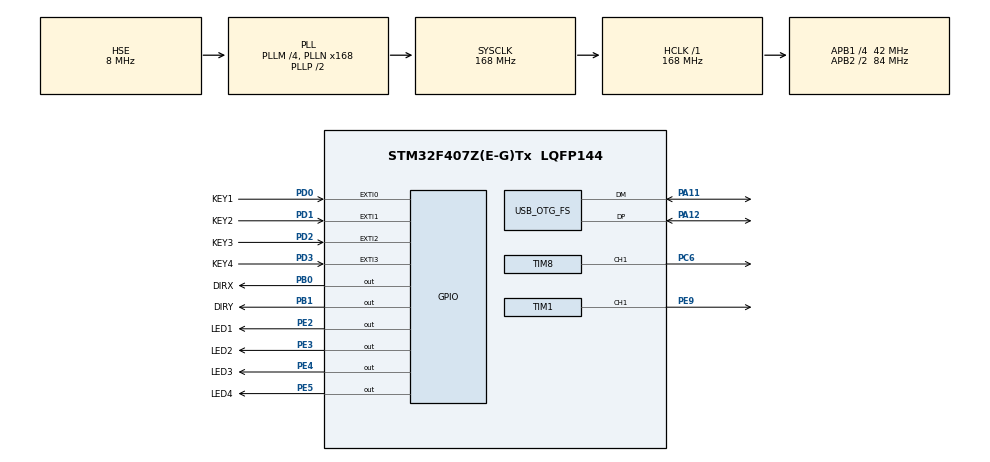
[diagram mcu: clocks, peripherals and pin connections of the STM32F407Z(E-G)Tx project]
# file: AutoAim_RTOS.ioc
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FREERTOS.Tasks01=getStateTask,2,128,StartGetStateTask,Default;keysTask,-1,128,StartKeyTask,Default;outPutTask,0,128,StartOutPutTask,Default;controlTask,2,128,StartControlTask,Default
FREERTOS.configUSE_ALTERNATIVE_API=0
Mcu.Family=STM32F4
Mcu.Name=STM32F407Z(E-G)Tx
Mcu.Package=LQFP144
NVIC.EXTI0_IRQn=true\:5\:0\:false\:false\:true\:true
NVIC.EXTI1_IRQn=true\:5\:0\:false\:false\:true\:true
NVIC.EXTI2_IRQn=true\:5\:0\:false\:false\:true\:true
NVIC.EXTI3_IRQn=true\:5\:0\:false\:false\:true\:true
NVIC.OTG_FS_IRQn=true\:5\:0\:false\:false\:true\:true
NVIC.PriorityGroup=NVIC_PRIORITYGROUP_4
NVIC.TIM1_UP_TIM10_IRQn=true\:5\:0\:false\:false\:true\:true
NVIC.TIM2_IRQn=true\:0\:0\:false\:false\:true\:false
NVIC.TIM3_IRQn=true\:5\:0\:false\:false\:true\:true
NVIC.TIM8_UP_TIM13_IRQn=true\:5\:0\:false\:false\:true\:true
NVIC.TimeBase=TIM2_IRQn
NVIC.TimeBaseIP=TIM2
PA11.Mode=Device_Only
PA11.Signal=USB_OTG_FS_DM
PA12.Mode=Device_Only
PA12.Signal=USB_OTG_FS_DP
PA13.Mode=JTAG_5_pins
PA13.Signal=SYS_JTMS-SWDIO
PA14.Mode=JTAG_5_pins
PA14.Signal=SYS_JTCK-SWCLK
PA15.Mode=JTAG_5_pins
PA15.Signal=SYS_JTDI
PB0.GPIO_Label=DIRX
PB0.GPIO_ModeDefaultOutputPP=GPIO_MODE_OUTPUT_PP
PB0.GPIO_PuPd=GPIO_NOPULL
PB0.GPIO_Speed=GPIO_SPEED_FREQ_HIGH
PB0.PinState=GPIO_PIN_RESET
PB0.Signal=GPIO_Output
PB1.GPIO_Label=DIRY
PB1.GPIO_ModeDefaultOutputPP=GPIO_MODE_OUTPUT_PP
PB1.GPIO_PuPd=GPIO_NOPULL
PB1.GPIO_Speed=GPIO_SPEED_FREQ_HIGH
PB1.PinState=GPIO_PIN_RESET
PB1.Signal=GPIO_Output
PB3.Mode=JTAG_5_pins
PB3.Signal=SYS_JTDO-SWO
PB4.Mode=JTAG_5_pins
PB4.Signal=SYS_JTRST
PC6.Signal=S_TIM8_CH1
PD0.GPIO_Label=KEY1
PD0.GPIO_ModeDefaultEXTI=GPIO_MODE_IT_FALLING
PD0.GPIO_PuPd=GPIO_PULLUP
PD0.Signal=GPXTI0
PD1.GPIO_Label=KEY2
PD1.GPIO_ModeDefaultEXTI=GPIO_MODE_IT_FALLING
PD1.GPIO_PuPd=GPIO_PULLUP
PD1.Signal=GPXTI1
PD2.GPIO_Label=KEY3
PD2.GPIO_ModeDefaultEXTI=GPIO_MODE_IT_FALLING
PD2.GPIO_PuPd=GPIO_PULLUP
PD2.Signal=GPXTI2
PD3.GPIO_Label=KEY4
PD3.GPIO_ModeDefaultEXTI=GPIO_MODE_IT_FALLING
PD3.GPIO_PuPd=GPIO_PULLUP
PD3.Signal=GPXTI3
PE2.GPIO_Label=LED1
PE2.GPIO_PuPd=GPIO_PULLUP
PE2.PinState=GPIO_PIN_SET
PE2.Signal=GPIO_Output
PE3.GPIO_Label=LED2
PE3.GPIO_PuPd=GPIO_PULLUP
PE3.PinState=GPIO_PIN_SET
PE3.Signal=GPIO_Output
PE4.GPIO_Label=LED3
PE4.GPIO_ModeDefaultOutputPP=GPIO_MODE_OUTPUT_PP
PE4.GPIO_PuPd=GPIO_PULLUP
PE4.PinState=GPIO_PIN_SET
PE4.Signal=GPIO_Output
PE5.GPIO_Label=LED4
PE5.GPIO_PuPd=GPIO_PULLUP
PE5.PinState=GPIO_PIN_SET
PE5.Signal=GPIO_Output
PE9.Signal=S_TIM1_CH1
PH0-OSC_IN.Mode=HSE-External-Oscillator
PH0-OSC_IN.Signal=RCC_OSC_IN
PH1-OSC_OUT.Mode=HSE-External-Oscillator
PH1-OSC_OUT.Signal=RCC_OSC_OUT
ProjectManager.HeapSize=0x1000
ProjectManager.StackSize=0x400
ProjectManager.TargetToolchain=MDK-ARM V5
RCC.48MHZClocksFreq_Value=48000000
RCC.AHBFreq_Value=168000000
RCC.APB1CLKDivider=RCC_HCLK_DIV4
RCC.APB1Freq_Value=42000000
RCC.APB1TimFreq_Value=84000000
RCC.APB2CLKDivider=RCC_HCLK_DIV2
RCC.APB2Freq_Value=84000000
RCC.APB2TimFreq_Value=168000000
RCC.ClockTypeHCLK=RCC_CLOCKTYPE_HCLK
RCC.ClockTypePCLK1=RCC_CLOCKTYPE_PCLK1
RCC.ClockTypePCLK2=RCC_CLOCKTYPE_PCLK2
RCC.ClockTypeSysClk=RCC_CLOCKTYPE_SYSCLK
RCC.CortexFreq_Value=168000000
RCC.EnableExtClockForI2S=false
RCC.EnableHSE=true
RCC.EnableHSERTCDevisor=false
RCC.EnableLSE=false
RCC.EnableLSERTC=false
RCC.ExtClockEnable=false
RCC.HCLKFreq_Value=168000000
RCC.HSEState=RCC_HSE_ON
RCC.HSE_VALUE=8000000
RCC.HSIState=RCC_HSI_OFF
RCC.HSI_VALUE=16000000
RCC.I2SEnable=false
RCC.IWDGEnable=false
RCC.LSE_VALUE=32768
RCC.LSIState=RCC_LSI_OFF
RCC.MCO1OutPutEnable=false
RCC.MCO2OutPutEnable=false
RCC.OscillatorTypeHSE=RCC_OSCILLATORTYPE_HSE
RCC.PLLM=4
RCC.PLLN=168
RCC.PLLQ=7
RCC.PLLSource=RCC_PLLSOURCE_HSE
RCC.PLLSourceVirtual=RCC_PLLSOURCE_HSE
RCC.PLLState=RCC_PLL_ON
RCC.RNGEnable=false
RCC.RTCEnable=false
RCC.SDIOEnable=false
RCC.SYSCLKFreq_VALUE=168000000
RCC.SYSCLKSource=RCC_SYSCLKSOURCE_PLLCLK
RCC.USBFSEnable=true
RCC.USBHSEnable=false
RCC.VCOOutputFreq_Value=336000000
SH.S_TIM1_CH1.0=TIM1_CH1,PWM Generation1 CH1
SH.S_TIM8_CH1.0=TIM8_CH1,PWM Generation1 CH1
TIM1.Channel-PWM\ Generation1\ CH1=TIM_CHANNEL_1
TIM1.OCNIdleState_1=TIM_OCNIDLESTATE_RESET
TIM1.OCNPolarity_1=TIM_OCNPOLARITY_HIGH
TIM1.Period=100-1
TIM1.Prescaler=2500-1
TIM1.Pulse-PWM\ Generation1\ CH1=50
TIM3.Period=15000-1
TIM3.Prescaler=84-1
TIM8.Channel-PWM\ Generation1\ CH1=TIM_CHANNEL_1
TIM8.OCNIdleState_1=TIM_OCNIDLESTATE_RESET
TIM8.OCNPolarity_1=TIM_OCNPOLARITY_HIGH
TIM8.Period=100-1
TIM8.Prescaler=2500-1
TIM8.Pulse-PWM\ Generation1\ CH1=50
USB_DEVICE.CLASS_NAME-CDC_FS=CDC
USB_DEVICE.CLASS_NAME_FS=CDC
USB_DEVICE.USBD_HandleTypeDef-CDC_FS=hUsbDeviceFS
USB_DEVICE.USBD_HandleTypeDef_FS=hUsbDevice_OTG_FS
USB_DEVICE.VirtualMode-CDC_FS=Cdc
USB_DEVICE.VirtualModeFS=Cdc_FS
USB_OTG_FS.VirtualMode=Device_Only
USB_OTG_FS.phy_itface=PCD_PHY_EMBEDDED
USB_OTG_FS.vbus_sensing_enable=DISABLE
VP_FREERTOS_VS_ENABLE.Mode=Enabled
VP_SYS_VS_tim2.Mode=TIM2
VP_TIM3_VS_ClockSourceINT.Mode=Internal
VP_USB_DEVICE_VS_USB_DEVICE_CDC_FS.Mode=CDC_FS
board=AutoAim_RTOS

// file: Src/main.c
/**
  ******************************************************************************
  * File Name          : main.c
  * Description        : Main program body
  ******************************************************************************
  *
  * Copyright (c) 2017 STMicroelectronics International N.V.
  * All rights reserved.
  *
  * Redistribution and use in source and binary forms, with or without
  * modification, are permitted, provided that the following conditions are met:
  *
  * 1. Redistribution of source code must retain the above copyright notice,
  *    this list of conditions and the following disclaimer.
  * 2. Redistributions in binary form must reproduce the above copyright notice,
  *    this list of conditions and the following disclaimer in the documentation
  *    and/or other materials provided with the distribution.
  * 3. Neither the name of STMicroelectronics nor the names of other
  *    contributors to this software may be used to endorse or promote products
  *    derived from this software without specific written permission.
  * 4. This software, including modifications and/or derivative works of this
  *    software, must execute solely and exclusively on microcontroller or
  *    microprocessor devices manufactured by or for STMicroelectronics.
  * 5. Redistribution and use of this software other than as permitted under
  *    this license is void and will automatically terminate your rights under
  *    this license.
  *
  * THIS SOFTWARE IS PROVIDED BY STMICROELECTRONICS AND CONTRIBUTORS "AS IS"
  * AND ANY EXPRESS, IMPLIED OR STATUTORY WARRANTIES, INCLUDING, BUT NOT
  * LIMITED TO, THE IMPLIED WARRANTIES OF MERCHANTABILITY, FITNESS FOR A
  * PARTICULAR PURPOSE AND NON-INFRINGEMENT OF THIRD PARTY INTELLECTUAL PROPERTY
  * RIGHTS ARE DISCLAIMED TO THE FULLEST EXTENT PERMITTED BY LAW. IN NO EVENT
  * SHALL STMICROELECTRONICS OR CONTRIBUTORS BE LIABLE FOR ANY DIRECT, INDIRECT,
  * INCIDENTAL, SPECIAL, EXEMPLARY, OR CONSEQUENTIAL DAMAGES (INCLUDING, BUT NOT
  * LIMITED TO, PROCUREMENT OF SUBSTITUTE GOODS OR SERVICES; LOSS OF USE, DATA,
  * OR PROFITS; OR BUSINESS INTERRUPTION) HOWEVER CAUSED AND ON ANY THEORY OF
  * LIABILITY, WHETHER IN CONTRACT, STRICT LIABILITY, OR TORT (INCLUDING
  * NEGLIGENCE OR OTHERWISE) ARISING IN ANY WAY OUT OF THE USE OF THIS SOFTWARE,
  * EVEN IF ADVISED OF THE POSSIBILITY OF SUCH DAMAGE.
  *
  ******************************************************************************
  */
#include "main.h"
#include "stm32f4xx_hal.h"
#include "cmsis_os.h"
#include "tim.h"
#include "usb_device.h"
#include "gpio.h"

/* USER CODE BEGIN PV */
/* Private variables ---------------------------------------------------------*/
extern osThreadId keysTaskHandle;
extern osThreadId getStateTaskHandle;
/* USER CODE END PV */

void SystemClock_Config(void);
void Error_Handler(void);
void MX_FREERTOS_Init(void);

/* USER CODE BEGIN PFP */
/* Private function prototypes -----------------------------------------------*/

/* USER CODE END PFP */

int main(void)
{

  /* MCU Configuration----------------------------------------------------------*/

  /* Reset of all peripherals, Initializes the Flash interface and the Systick. */
  HAL_Init();

  /* Configure the system clock */
  SystemClock_Config();

  /* Initialize all configured peripherals */
  MX_GPIO_Init();
  MX_TIM1_Init();
  MX_TIM3_Init();
  MX_TIM8_Init();

  /* Call init function for freertos objects (in freertos.c) */
  MX_FREERTOS_Init();

  /* Start scheduler */
  osKernelStart();

  /* We should never get here as control is now taken by the scheduler */

  /* Infinite loop */
    while(1)
    {

    }

}

/** System Clock Configuration
*/
void SystemClock_Config(void)
{

  RCC_OscInitTypeDef RCC_OscInitStruct;
  RCC_ClkInitTypeDef RCC_ClkInitStruct;

    /**Configure the main internal regulator output voltage
    */
  __HAL_RCC_PWR_CLK_ENABLE();

  __HAL_PWR_VOLTAGESCALING_CONFIG(PWR_REGULATOR_VOLTAGE_SCALE1);

    /**Initializes the CPU, AHB and APB busses clocks
    */
  RCC_OscInitStruct.OscillatorType = RCC_OSCILLATORTYPE_HSE;
  RCC_OscInitStruct.HSEState = RCC_HSE_ON;
  RCC_OscInitStruct.PLL.PLLState = RCC_PLL_ON;
  RCC_OscInitStruct.PLL.PLLSource = RCC_PLLSOURCE_HSE;
  RCC_OscInitStruct.PLL.PLLM = 4;
  RCC_OscInitStruct.PLL.PLLN = 168;
  RCC_OscInitStruct.PLL.PLLP = RCC_PLLP_DIV2;
  RCC_OscInitStruct.PLL.PLLQ = 7;
  if (HAL_RCC_OscConfig(&RCC_OscInitStruct) != HAL_OK)
  {
    Error_Handler();
  }

    /**Initializes the CPU, AHB and APB busses clocks
    */
  RCC_ClkInitStruct.ClockType = RCC_CLOCKTYPE_HCLK|RCC_CLOCKTYPE_SYSCLK
                              |RCC_CLOCKTYPE_PCLK1|RCC_CLOCKTYPE_PCLK2;
  RCC_ClkInitStruct.SYSCLKSource = RCC_SYSCLKSOURCE_PLLCLK;
  RCC_ClkInitStruct.AHBCLKDivider = RCC_SYSCLK_DIV1;
  RCC_ClkInitStruct.APB1CLKDivider = RCC_HCLK_DIV4;
  RCC_ClkInitStruct.APB2CLKDivider = RCC_HCLK_DIV2;

  if (HAL_RCC_ClockConfig(&RCC_ClkInitStruct, FLASH_LATENCY_5) != HAL_OK)
  {
    Error_Handler();
  }

    /**Configure the Systick interrupt time
    */
  HAL_SYSTICK_Config(HAL_RCC_GetHCLKFreq()/1000);

    /**Configure the Systick
    */
  HAL_SYSTICK_CLKSourceConfig(SYSTICK_CLKSOURCE_HCLK);

  /* SysTick_IRQn interrupt configuration */
  HAL_NVIC_SetPriority(SysTick_IRQn, 15, 0);
}

/* USER CODE BEGIN 4 */
void HAL_GPIO_EXTI_Callback(uint16_t GPIO_Pin)
{
    BaseType_t xHigherPriorityTaskWoken;

    switch(GPIO_Pin)
    {
    case KEY1_Pin:
        xTaskNotifyFromISR(keysTaskHandle, 0x01, eSetBits, &xHigherPriorityTaskWoken);
        break;

    case KEY2_Pin:
        xTaskNotifyFromISR(keysTaskHandle, 0x02, eSetBits, &xHigherPriorityTaskWoken);
        break;

    case KEY3_Pin:
        xTaskNotifyFromISR(keysTaskHandle, 0x03, eSetBits, &xHigherPriorityTaskWoken);
        break;

    case KEY4_Pin:
        xTaskNotifyFromISR(keysTaskHandle, 0x04, eSetBits, &xHigherPriorityTaskWoken);
        break;
    }

    portYIELD_FROM_ISR(xHigherPriorityTaskWoken);
}
/* USER CODE END 4 */

void HAL_TIM_PeriodElapsedCallback(TIM_HandleTypeDef *htim)
{
  if (htim->Instance == TIM2) {
    HAL_IncTick();
  }
/* USER CODE BEGIN Callback 1 */
    else if(htim->Instance == TIM1)
    {
        if(TIM1_Count <= 0)
        {
            HAL_TIM_PWM_Stop(&htim1, TIM_CHANNEL_1);
        }

        else
        {
            User_TIM1_SetPluse(TIM1_Count);
        }
    }

    else if(htim->Instance == TIM8)
    {
        if(TIM8_Count <= 0)
        {
            HAL_TIM_PWM_Stop(&htim8, TIM_CHANNEL_1);
        }

        else
        {
            User_TIM8_SetPluse(TIM8_Count);
        }
    }

    else if(htim->Instance == TIM3)
    {
        BaseType_t xHigherPriorityTaskWoken;
        vTaskNotifyGiveFromISR(getStateTaskHandle, &xHigherPriorityTaskWoken);
        portYIELD_FROM_ISR(xHigherPriorityTaskWoken);
    }

/* USER CODE END Callback 1 */
}

void Error_Handler(void)
{
    while(1)
    {
    }
}

/************************ (C) COPYRIGHT STMicroelectronics *****END OF FILE****/

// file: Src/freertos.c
/**
  ******************************************************************************
  * File Name          : freertos.c
  * Description        : Code for freertos applications
  ******************************************************************************
  *
  * Copyright (c) 2017 STMicroelectronics International N.V.
  * All rights reserved.
  *
  * Redistribution and use in source and binary forms, with or without
  * modification, are permitted, provided that the following conditions are met:
  *
  * 1. Redistribution of source code must retain the above copyright notice,
  *    this list of conditions and the following disclaimer.
  * 2. Redistributions in binary form must reproduce the above copyright notice,
  *    this list of conditions and the following disclaimer in the documentation
  *    and/or other materials provided with the distribution.
  * 3. Neither the name of STMicroelectronics nor the names of other
  *    contributors to this software may be used to endorse or promote products
  *    derived from this software without specific written permission.
  * 4. This software, including modifications and/or derivative works of this
  *    software, must execute solely and exclusively on microcontroller or
  *    microprocessor devices manufactured by or for STMicroelectronics.
  * 5. Redistribution and use of this software other than as permitted under
  *    this license is void and will automatically terminate your rights under
  *    this license.
  *
  * THIS SOFTWARE IS PROVIDED BY STMICROELECTRONICS AND CONTRIBUTORS "AS IS"
  * AND ANY EXPRESS, IMPLIED OR STATUTORY WARRANTIES, INCLUDING, BUT NOT
  * LIMITED TO, THE IMPLIED WARRANTIES OF MERCHANTABILITY, FITNESS FOR A
  * PARTICULAR PURPOSE AND NON-INFRINGEMENT OF THIRD PARTY INTELLECTUAL PROPERTY
  * RIGHTS ARE DISCLAIMED TO THE FULLEST EXTENT PERMITTED BY LAW. IN NO EVENT
  * SHALL STMICROELECTRONICS OR CONTRIBUTORS BE LIABLE FOR ANY DIRECT, INDIRECT,
  * INCIDENTAL, SPECIAL, EXEMPLARY, OR CONSEQUENTIAL DAMAGES (INCLUDING, BUT NOT
  * LIMITED TO, PROCUREMENT OF SUBSTITUTE GOODS OR SERVICES; LOSS OF USE, DATA,
  * OR PROFITS; OR BUSINESS INTERRUPTION) HOWEVER CAUSED AND ON ANY THEORY OF
  * LIABILITY, WHETHER IN CONTRACT, STRICT LIABILITY, OR TORT (INCLUDING
  * NEGLIGENCE OR OTHERWISE) ARISING IN ANY WAY OUT OF THE USE OF THIS SOFTWARE,
  * EVEN IF ADVISED OF THE POSSIBILITY OF SUCH DAMAGE.
  *
  ******************************************************************************
  */

#include "FreeRTOS.h"
#include "task.h"
#include "cmsis_os.h"

/* USER CODE BEGIN Includes */
#include "gpio.h"
#include "usbd_cdc_if.h"
#include "tim.h"
#define FIREDELAY 10
#define MANUALDELAY 2
/* USER CODE END Includes */

osThreadId getStateTaskHandle;
osThreadId keysTaskHandle;
osThreadId outPutTaskHandle;
osThreadId controlTaskHandle;

/* USER CODE BEGIN Variables */
typedef struct
{
    int xError;
    int yError;
    _Bool fireflag;
    _Bool manualflag;
} MotorState;
MotorState mstate = {0, 0, 0, 0};
static int Xpluse = 0, Ypluse = 0;
static float p = 0;
/* USER CODE END Variables */

void StartGetStateTask(void const * argument);
void StartKeyTask(void const * argument);
void StartOutPutTask(void const * argument);
void StartControlTask(void const * argument);

extern void MX_USB_DEVICE_Init(void);
void MX_FREERTOS_Init(void); /* (MISRA C 2004 rule 8.1) */

/* USER CODE BEGIN FunctionPrototypes */
MotorState GetStates(uint8_t * RecieveData);
void StepMotorControl(_Bool motor, int pluse); //0-->X 1-->Y
void SetUserTxData(int x, int y);
/* USER CODE END FunctionPrototypes */

/* Hook prototypes */

/* Init FreeRTOS */

void MX_FREERTOS_Init(void)
{

    /* Create the thread(s) */
    /* definition and creation of getStateTask */
    osThreadDef(getStateTask, StartGetStateTask, osPriorityHigh, 0, 128);
    getStateTaskHandle = osThreadCreate(osThread(getStateTask), NULL);

    /* definition and creation of keysTask */
    osThreadDef(keysTask, StartKeyTask, osPriorityBelowNormal, 0, 128);
    keysTaskHandle = osThreadCreate(osThread(keysTask), NULL);

    /* definition and creation of outPutTask */
    osThreadDef(outPutTask, StartOutPutTask, osPriorityNormal, 0, 128);
    outPutTaskHandle = osThreadCreate(osThread(outPutTask), NULL);

    /* definition and creation of controlTask */
    osThreadDef(controlTask, StartControlTask, osPriorityHigh, 0, 128);
    controlTaskHandle = osThreadCreate(osThread(controlTask), NULL);

}

/* StartGetStateTask function */
void StartGetStateTask(void const * argument)
{
    /* init code for USB_DEVICE */
    MX_USB_DEVICE_Init();

    /* USER CODE BEGIN StartGetStateTask */
    HAL_TIM_Base_Start_IT(&htim3);

    /* Infinite loop */
    for(;;)
    {
        ulTaskNotifyTake(pdTRUE, osWaitForever);
        mstate = GetStates(UserRxData);
        xTaskNotifyGive(controlTaskHandle);
        HAL_GPIO_TogglePin(LED2_GPIO_Port, LED2_Pin);
    }

    /* USER CODE END StartGetStateTask */
}

/* StartKeyTask function */
void StartKeyTask(void const * argument)
{
    /* USER CODE BEGIN StartKeyTask */
    uint32_t Value = 0;

    /* Infinite loop */
    for(;;)
    {
        xTaskNotifyWait(0, 0xFFFFFFFF, &Value, osWaitForever);

        if(Value == 0x01)
        {
            HAL_GPIO_WritePin(LED1_GPIO_Port, LED1_Pin, GPIO_PIN_SET);
            StepMotorControl(1, 10);
        }

        if(Value == 0x02)
        {
            HAL_GPIO_WritePin(LED1_GPIO_Port, LED1_Pin, GPIO_PIN_RESET);
            StepMotorControl(1, -10);
        }

        if(Value == 0x03)
        {
            HAL_GPIO_WritePin(LED2_GPIO_Port, LED2_Pin, GPIO_PIN_SET);
            StepMotorControl(0, 20);
        }

        if(Value == 0x04)
        {
            HAL_GPIO_WritePin(LED2_GPIO_Port, LED2_Pin, GPIO_PIN_RESET);
            StepMotorControl(0, -20);
        }
    }

    /* USER CODE END StartKeyTask */
}

/* StartOutPutTask function */
void StartOutPutTask(void const * argument)
{
    /* USER CODE BEGIN StartOutPutTask */
    /* Infinite loop */
    for(;;)
    {
        ulTaskNotifyTake(pdTRUE, osWaitForever);
        //StepMotorControl(0, Xpluse);
        //StepMotorControl(1, Ypluse);
    }

    /* USER CODE END StartOutPutTask */
}

/* StartControlTask function */
void StartControlTask(void const * argument)
{
    /* USER CODE BEGIN StartControlTask */
    /* Infinite loop */
    for(;;)
    {
        ulTaskNotifyTake(pdTRUE, osWaitForever);

        if(!mstate.manualflag)
        {
            Xpluse = (int)(p * mstate.xError);
            Ypluse = (int)(p * mstate.yError);
        }

        else
        {
            Xpluse = (int)(0.1 * mstate.xError);
            Ypluse = (int)(0.1 * mstate.yError);
        }

        //SetUserTxData(5000+Xpluse,5000+Ypluse);
        //CDC_Transmit_FS(UserTxData,9);
        xTaskNotifyGive(outPutTaskHandle);
    }

    /* USER CODE END StartControlTask */
}

/* USER CODE BEGIN Application */
MotorState GetStates(uint8_t * RecieveData)
{
    MotorState mstemp = {0, 0, 0, 0};

    if(RecieveData[0] == '@' || RecieveData[0] == '!') //error
    {
        mstemp.xError = (RecieveData[2] - 48) * 100 + (RecieveData[3] - 48) * 10 + (RecieveData[4] - 48);

        if(RecieveData[1] == '-')
        {
            mstemp.xError = mstemp.xError * (-1);
        }

        mstemp.yError = (RecieveData[6] - 48) * 100 + (RecieveData[7] - 48) * 10 + (RecieveData[8] - 48);

        if(RecieveData[5] == '-')
        {
            mstemp.yError = mstemp.yError * (-1);
        }

        if(RecieveData[0] == '!')//fire
        {
            mstemp.fireflag = 1;
        }
    }

    else if(RecieveData[0] == 'P')//PID parameter
    {
        p = (RecieveData[1] - 48)   + (RecieveData[2] - 48) * 0.1;
        //i = (RecieveData[4] - 48) * 0.01   + (RecieveData[5] - 48) * 0.001;
        //d = (RecieveData[7] - 48)   + (RecieveData[8] - 48) * 0.1;
    }

    else if(RecieveData[0] == '[') //manual
    {
        mstemp.fireflag = 1;

        switch(RecieveData[4])
        {
        case 'L':
            mstemp.xError = -20;
            break;

        case 'R':
            mstemp.xError = 20;
            break;

        case 'U':
            mstemp.yError = -20;
            break;

        case 'D':
            mstemp.yError = 20;
            break;

        case 'F':
            mstemp.fireflag = 1;
            break;
        }

        memset(RecieveData, 0, 9);
    }

    //memset(RecieveData, 0, 9);

    return mstemp;
}
void StepMotorControl(_Bool motor, int pluse)
{
    if(pluse != 0)
    {
        if(!motor)//X
        {
            if(pluse > 0)
                HAL_GPIO_WritePin(DIRX_GPIO_Port, DIRX_Pin, GPIO_PIN_RESET);

            else
                HAL_GPIO_WritePin(DIRX_GPIO_Port, DIRX_Pin, GPIO_PIN_SET);

            User_TIM1_SetPluse(abs(pluse));
        }

        else
        {
            if(pluse > 0)
                HAL_GPIO_WritePin(DIRY_GPIO_Port, DIRY_Pin, GPIO_PIN_RESET);

            else
                HAL_GPIO_WritePin(DIRY_GPIO_Port, DIRY_Pin, GPIO_PIN_SET);

            User_TIM8_SetPluse(abs(pluse));
        }
    }
}
void SetUserTxData(int x, int y)
{
    UserTxData[0] = '#';
    UserTxData[1] = x / 1000 + 48;
    UserTxData[2] = (x % 1000) / 100 + 48;
    UserTxData[3] = (x % 100) / 10 + 48;
    UserTxData[4] = (x % 10) + 48;
    UserTxData[5] = y / 1000 + 48;
    UserTxData[6] = (y % 1000) / 100 + 48;
    UserTxData[7] = (y % 100) / 10 + 48;
    UserTxData[8] = (y % 10) + 48;
}
/* USER CODE END Application */

/************************ (C) COPYRIGHT STMicroelectronics *****END OF FILE****/
